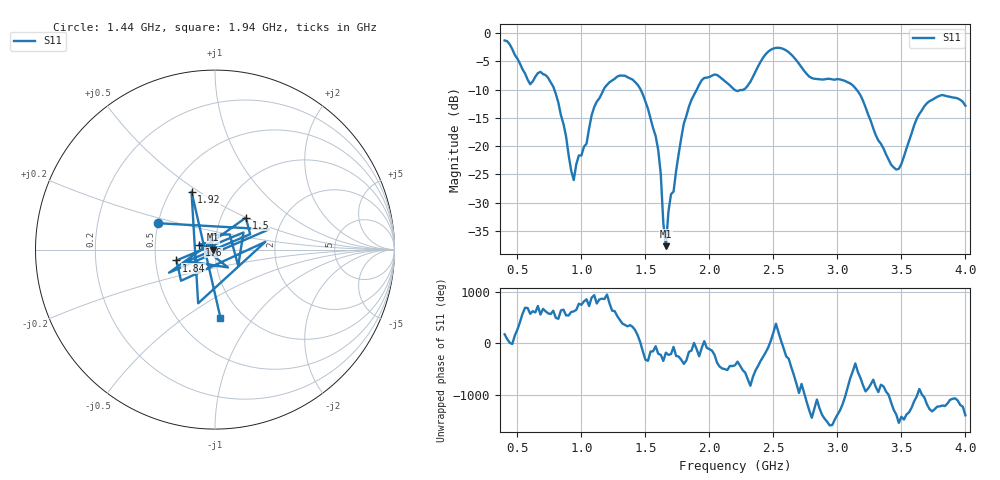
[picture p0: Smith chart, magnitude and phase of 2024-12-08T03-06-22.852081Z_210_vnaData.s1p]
!Created with skrf (http://scikit-rf.org).
# Hz S RI R 50.0
!freq ReS11 ImS11
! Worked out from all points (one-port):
!   181 points, 400 MHz to 4 GHz, reference 50 ohm
!   lowest |S11| = -37.7 dB at 1.66 GHz (marker M1), VSWR 1.03, Z = 48.7 - j0.0308 ohm
!   |S11| at or under -10 dB: 788.2 MHz to 1.174 GHz (385.9 MHz wide, 39.3 % of centre); 1.462 GHz to 1.902 GHz (439.2 MHz wide, 26.1 % of centre); 3.149 GHz to end of sweep (the widest 3 of 4)
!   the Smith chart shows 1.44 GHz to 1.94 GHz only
!   S11 on the Smith chart (normalised r, x): 1.44 GHz: 0.50, +0.17; 1.5 GHz: 1.31, +0.50; 1.6 GHz: 0.84, +0.05; 1.84 GHz: 0.64, -0.08; 1.92 GHz: 0.64, +0.47; 1.94 GHz: 0.79, -0.70
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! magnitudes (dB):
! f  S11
! 400 MHz  -1.3
! 600 MHz  -9.1
! 740 MHz  -7.9
! 860 MHz  -16.1
! 940 MHz  -26.0
! 1.1 GHz  -13.1
! 1.3 GHz  -7.5
! 1.44 GHz  -9.2
! 1.5 GHz  -12.1
! 1.6 GHz  -20.7
! 1.66 GHz  -37.7
! 1.68 GHz  -31.6
! 1.76 GHz  -21.4
! 1.84 GHz  -13.0
! 1.92 GHz  -9.2
! 1.94 GHz  -8.4
! 2.06 GHz  -7.4
! 2.2 GHz  -10.1
! 2.28 GHz  -9.8
! 2.48 GHz  -3.0
! 2.66 GHz  -4.3
! 2.8 GHz  -8.0
! 3.1 GHz  -8.9
! 3.44 GHz  -23.8
! 3.48 GHz  -24.0
! 3.56 GHz  -19.1
! 3.72 GHz  -12.0
! 4 GHz  -12.9
